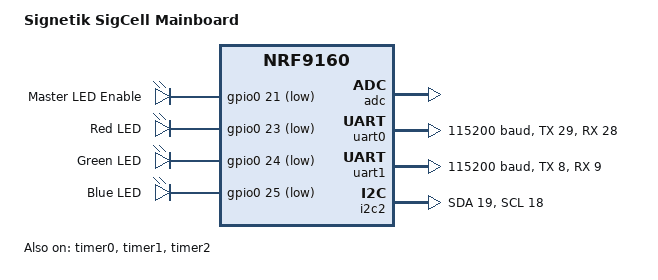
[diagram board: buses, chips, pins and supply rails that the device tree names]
/*============================================================================*
 *         Copyright © 2019-2020 Signetik, LLC -- All Rights Reserved         *
 *----------------------------------------------------------------------------*
 *                                                              Signetik, LLC *
 *                                                           www.signetik.com *
 *                                      SPDX-License-Identifier: BSD-4-Clause *
 *============================================================================*/

#include <dt-bindings/regulator/regulator.h>

/ {
	model = "Signetik SigCell Mainboard";
	compatible = "signetik-sigcell", "nordic,nrf9160-sica",
		     "nordic,nrf9160";

	chosen {
		zephyr,console = &uart0;
		zephyr,shell-uart = &uart0;
		zephyr,uart-mcumgr = &uart0;
	};

	leds {
		compatible = "gpio-leds";
		leden: led_en {
			gpios = <&gpio0 21 GPIO_INT_ACTIVE_LOW>;
			label = "Master LED Enable";
		};
		ledr: led_r {
			gpios = <&gpio0 23 GPIO_INT_ACTIVE_LOW>;
			label = "Red LED";
		};
		ledg: led_g {
			gpios = <&gpio0 24 GPIO_INT_ACTIVE_LOW>;
			label = "Green LED";
		};
		ledb: led_b {
			gpios = <&gpio0 25 GPIO_INT_ACTIVE_LOW>;
			label = "Blue LED";
		};
	};

    regulators {
		compatible = "signetik,regulators";
        lsense:  lsense_addon {
            gpios = <&gpio0 11 REGULATOR_ENABLE_ACTIVE_LOW>;
        };
        accel:  accel_addon {
            gpios = <&gpio0 11 REGULATOR_ENABLE_ACTIVE_LOW>;
        };
    };

	/* These aliases are provided for compatibility with samples */
	aliases {
		leden = &leden;
		ledr = &ledr;
		ledg = &ledg;
		ledb = &ledb;
	};
};

&adc {
	status = "okay";
};

&gpiote {
	status = "okay";
};

&gpio0 {
	status = "okay";
};

&uart0 {
	status = "okay";
	current-speed = <115200>;
	tx-pin = <29>;
	rx-pin = <28>;
    /*
	rts-pin = <27>;
	cts-pin = <26>;
    */
};

&uart1 {
	status = "okay";
	current-speed = <115200>;
	tx-pin = <8>;
	rx-pin = <9>;
};

&i2c2 {
	compatible = "nordic,nrf-twim";
	status = "okay";
	sda-pin = <19>;
	scl-pin = <18>;
};

&timer0 {
	status = "okay";
};

&timer1 {
	status = "okay";
};

&timer2 {
	status = "okay";
};

&flash0 {
	/*
	 * For more information, see:
	 * http://docs.zephyrproject.org/latest/guides/dts/index.html#flash-partitions
	 */
	partitions {
		compatible = "fixed-partitions";
		#address-cells = <1>;
		#size-cells = <1>;

		boot_partition: partition@0 {
			label = "mcuboot";
			reg = <0x00000000 0x10000>;
		};
		slot0_partition: partition@10000 {
			label = "image-0";
		};
		slot0_ns_partition: partition@40000 {
			label = "image-0-nonsecure";
		};
		slot1_partition: partition@80000 {
			label = "image-1";
		};
		slot1_ns_partition: partition@b0000 {
			label = "image-1-nonsecure";
		};
		scratch_partition: partition@f0000 {
			label = "image-scratch";
			reg = <0x000f0000 0xa000>;
		};
		storage_partition: partition@fa000 {
			label = "storage";
			reg = <0x000fa000 0x00006000>;
		};
	};
};

/ {
	/* SRAM allocated and used by the BSD library */
	sram0_bsd: memory@20010000 {
		compatible = "mmio-sram";
	};

	/* SRAM allocated to the Non-Secure image */
	sram0_ns: memory@20020000 {
		compatible = "mmio-sram";
	};
};

/* Include partition configuration file */
#include "signetik_sigcell_partition_conf.dts"
